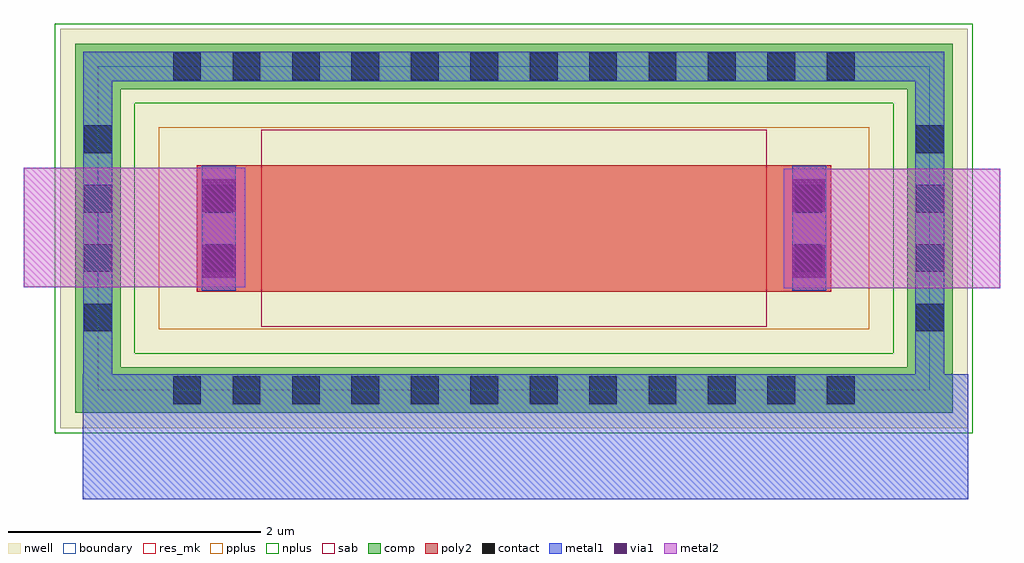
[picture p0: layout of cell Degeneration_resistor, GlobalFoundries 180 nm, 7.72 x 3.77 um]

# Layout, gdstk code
from math import pi, radians
import gdstk
lib = gdstk.Library(unit=1e-6, precision=1e-09)
def R(c, l, rs):  # rectangles x0, y0, x1, y1
    for r in rs: c.add(gdstk.rectangle(r[:2], r[2:], *l))
def A(c, l, x, y, w, h, nx, ny, dx, dy):  # array of equal rectangles
    R(c, l, [(x+i*dx, y+j*dy, x+i*dx+w, y+j*dy+h) for i in range(nx) for j in range(ny)])
boundary = (0, 0)
nwell = (21, 0)
comp = (22, 0)
poly2 = (30, 0)
pplus = (31, 0)
nplus = (32, 0)
contact = (33, 0)
metal1 = (34, 0)
via1 = (35, 0)
metal2 = (36, 0)
sab = (49, 0)
res_mk = (110, 5)

ppolyf_u_95k9dy = lib.new_cell('ppolyf_u_95K9DY')
R(ppolyf_u_95k9dy, boundary, [(-1.28,-3.29,1.28,3.29)])
R(ppolyf_u_95k9dy, nwell, [(-1.58,-3.59,1.58,3.59)])
R(ppolyf_u_95k9dy, comp, [(-1.46,-3.47,1.46,-3.11), (-1.46,-3.11,-1.1,3.11), (1.1,-3.11,1.46,3.11), (-1.46,3.11,1.46,3.47)])
R(ppolyf_u_95k9dy, poly2, [(-0.5,-2.51,0.5,2.51)])
R(ppolyf_u_95k9dy, pplus, [(-0.8,-2.81,0.8,2.81)])
R(ppolyf_u_95k9dy, nplus, [(-1.62,-3.63,1.62,-3), (-1.62,-3,-0.99,3), (0.99,-3,1.62,3), (-1.62,3,1.62,3.63)])
A(ppolyf_u_95k9dy, contact, -0.815, -3.4, 0.22, 0.22, 4, 2, 0.47, 6.58)
A(ppolyf_u_95k9dy, contact, -1.39, -2.695, 0.22, 0.22, 1, 12, 0, 0.47)
A(ppolyf_u_95k9dy, contact, 1.17, -2.695, 0.22, 0.22, 1, 12, 0, 0.47)
R(ppolyf_u_95k9dy, contact, [(-0.345,-2.44,-0.125,-2.22), (0.125,-2.44,0.345,-2.22), (-0.345,2.22,-0.125,2.44), (0.125,2.22,0.345,2.44)])
R(ppolyf_u_95k9dy, metal1, [(-1.395,-3.405,1.395,-3.175), (-1.395,-3.175,-1.165,3.175), (1.165,-3.175,1.395,3.175), (-0.49,-2.445,0.49,-2.215), (-0.49,2.215,0.49,2.445), (-1.395,3.175,1.395,3.405)])
R(ppolyf_u_95k9dy, sab, [(-0.78,-2,0.78,2)])
R(ppolyf_u_95k9dy, res_mk, [(-0.5,-2,0.5,2)])

degeneration_resistor = lib.new_cell('Degeneration_resistor')
R(degeneration_resistor, metal1, [(-0.27,-0.915,6.735,0.075), (0.67,0.735,0.94,1.725), (5.34,0.735,5.61,1.725)])
R(degeneration_resistor, via1, [(0.675,0.84,0.935,1.1), (5.34,0.84,5.6,1.1), (0.675,1.36,0.935,1.62), (5.34,1.36,5.6,1.62)])
R(degeneration_resistor, metal2, [(5.275,0.755,6.985,1.7), (-0.735,0.765,1.015,1.71)])
degeneration_resistor.add(gdstk.Reference(ppolyf_u_95k9dy, (3.14,1.23), rotation=3*pi/2))

lib.write_gds('Degeneration_resistor.gds')
